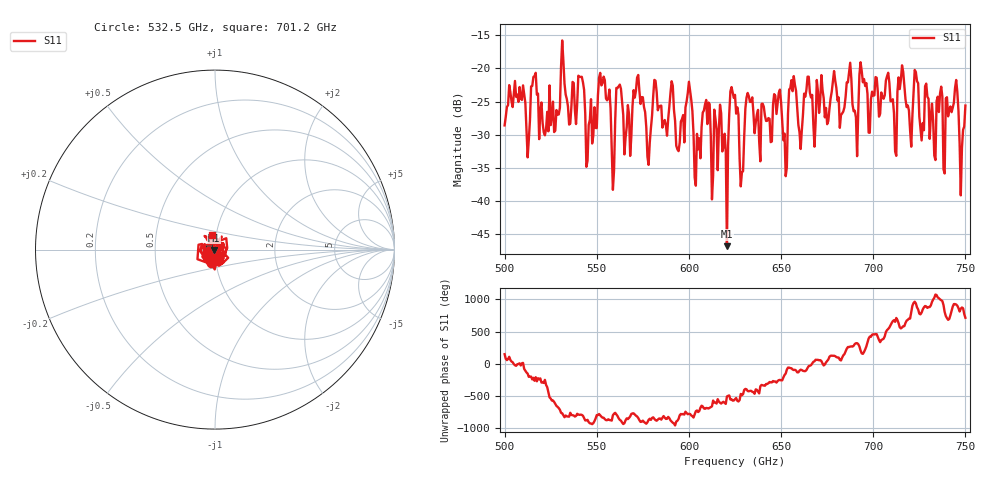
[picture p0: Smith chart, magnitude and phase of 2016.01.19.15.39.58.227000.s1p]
!Created with skrf (http://scikit-rf.org).
# GHz S RI R 50.0
!freq ReS11 ImS11
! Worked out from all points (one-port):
!   401 points, 500 GHz to 750 GHz, reference 50 ohm
!   lowest |S11| = -46.9 dB at 620.6 GHz (marker M1), VSWR 1.01, Z = 49.6 - j0.266 ohm
!   |S11| at or under -10 dB: start of sweep to end of sweep
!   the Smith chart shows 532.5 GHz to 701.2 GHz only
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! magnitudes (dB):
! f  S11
! 500 GHz  -28.6
! 512.5 GHz  -33.4
! 515.6 GHz  -21.3
! 528.1 GHz  -26.3
! 531.2 GHz  -15.8
! 541.9 GHz  -21.3
! 545 GHz  -33.9
! 553.1 GHz  -22.2
! 558.8 GHz  -38.3
! 562.5 GHz  -22.4
! 578.1 GHz  -34.6
! 581.2 GHz  -21.7
! 590.6 GHz  -21.9
! 593.8 GHz  -32.2
! 600 GHz  -22.0
! 603.8 GHz  -37.7
! 610 GHz  -28.4
! 620.6 GHz  -46.9
! 625 GHz  -24.0
! 628.8 GHz  -35.7
! 631.9 GHz  -23.7
! 648.8 GHz  -23.7
! 651.9 GHz  -29.9
! 656.2 GHz  -23.4
! 660.6 GHz  -32.2
! 687.5 GHz  -19.1
! 718.8 GHz  -25.6
! 750 GHz  -25.6
